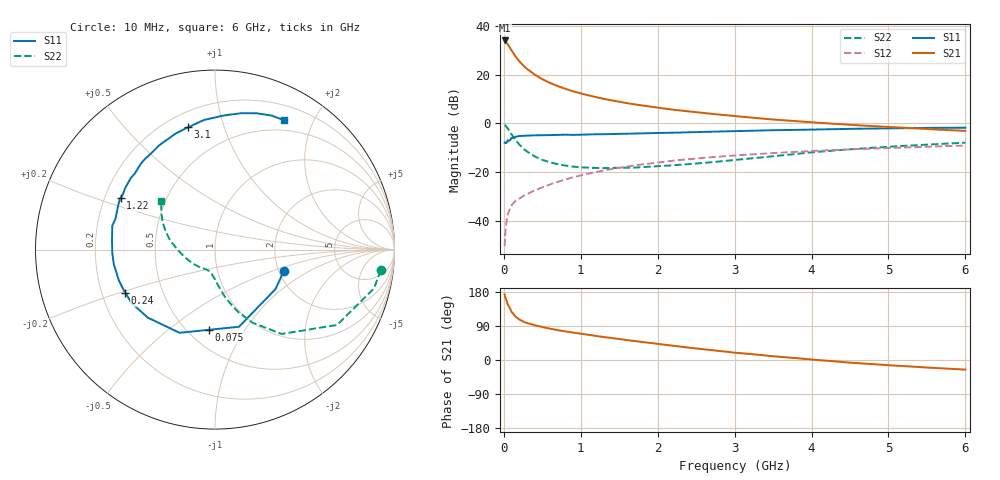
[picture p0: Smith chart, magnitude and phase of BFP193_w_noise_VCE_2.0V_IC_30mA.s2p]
! Infineon Technologies  Discrete & RF Semiconductors
! BFP193
! VCE = 2.0 V,  IC =  30 mA
! Common Emitter S-Parameters:  Jan 2016
# GHz  S  MA  R  50
!  f  S11  S21  S12  S22
! GHz  MAG  ANG  MAG  ANG  MAG  ANG  MAG  ANG
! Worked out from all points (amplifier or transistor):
!   210 points, 10 MHz to 6 GHz, reference 50 ohm
!   highest |S21| = 34.1 dB at 10 MHz (marker M1)
!   |S21| within 3 dB of that: start of sweep to 78.4 MHz
!   unconditionally stable (mu >= 1): 599.7 MHz to 3.892 GHz
!   at 185 MHz: K = 0.60, MSG = 28.7 dB, |S12| = -31.2 dB
!   at 1.52 GHz: K = 1.07, MAG = 11.8 dB, |S12| = -18.1 dB
!   at 6 GHz: K = 0.94, MSG = 3.0 dB, |S12| = -9.1 dB
!   lowest NFmin = 1.90 dB at 450 MHz
!   S11 on the Smith chart (normalised r, x): 10 MHz: 2.13, -0.61; 75 MHz: 0.63, -0.71; 240 MHz: 0.30, -0.21; 1.22 GHz: 0.27, +0.24; 3.1 GHz: 0.29, +0.76; 6 GHz: 0.37, +1.60
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0.01  0.4021 -17.4  50.72 172.9  0.003 82.8  0.9316 -7.1
0.02  0.4025 -33.2  48.76 164.8  0.0059 79.0  0.9111 -13.8
0.05  0.4502 -72.7  42.73 146.9  0.0133 66.6  0.7992 -31.7
0.075  0.4478 -94.1  36.66 138.4  0.0169 60.6  0.6886 -40.3
0.1  0.5039 -113.1  31.7 126.8  0.0207 56.7  0.5989 -51.7
0.15  0.5327 -134.6  23.93 114.5  0.0254 52.3  0.458 -62.8
0.2  0.5516 -147.2  19.02 106.9  0.0286 52.6  0.369 -69.8
0.24  0.5546 -154.3  16.23 102.7  0.0314 52.8  0.3182 -73.6
0.3  0.5626 -162.4  13.19 97.5  0.0351 55.0  0.2658 -78.4
0.4  0.5698 -171.9  10.08 91.7  0.0418 57.4  0.2099 -83.8
0.5  0.5727 -178.4  8.1 86.9  0.0484 59.0  0.178 -87.8
0.6  0.5752 176.2  6.794 82.5  0.0559 60.0  0.1585 -91.5
0.7  0.5804 170.9  5.858 78.7  0.0631 60.7  0.1451 -94.7
0.8  0.5875 166.9  5.127 75.4  0.0705 60.8  0.1357 -98.0
1.02  0.5873 158.3  4.054 68.7  0.087 60.5  0.1249 -103.9
1.22  0.5999 151.3  3.409 62.9  0.102 59.2  0.1211 -110.4
1.6  0.6157 139.6  2.605 52.5  0.1297 55.6  0.1231 -122.0
2.02  0.6378 128.0  2.085 42.1  0.1593 50.9  0.1324 -135.6
3.1  0.6976 102.4  1.369 17.7  0.2251 37.4  0.1831 -170.5
4.1  0.7525 84.9  1.029 -0.4  0.2756 25.6  0.2622 166.5
5.1  0.7967 71.8  0.828 -14.9  0.3166 14.5  0.3387 150.3
6  0.8167 62.0  0.704 -25.4  0.3508 4.9  0.4016 138.1
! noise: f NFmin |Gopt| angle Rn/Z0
0.45  1.9  0.4  180  0.09
0.9  1.95  0.43  -173  0.11
1.8  2.4  0.58  -144  0.24
